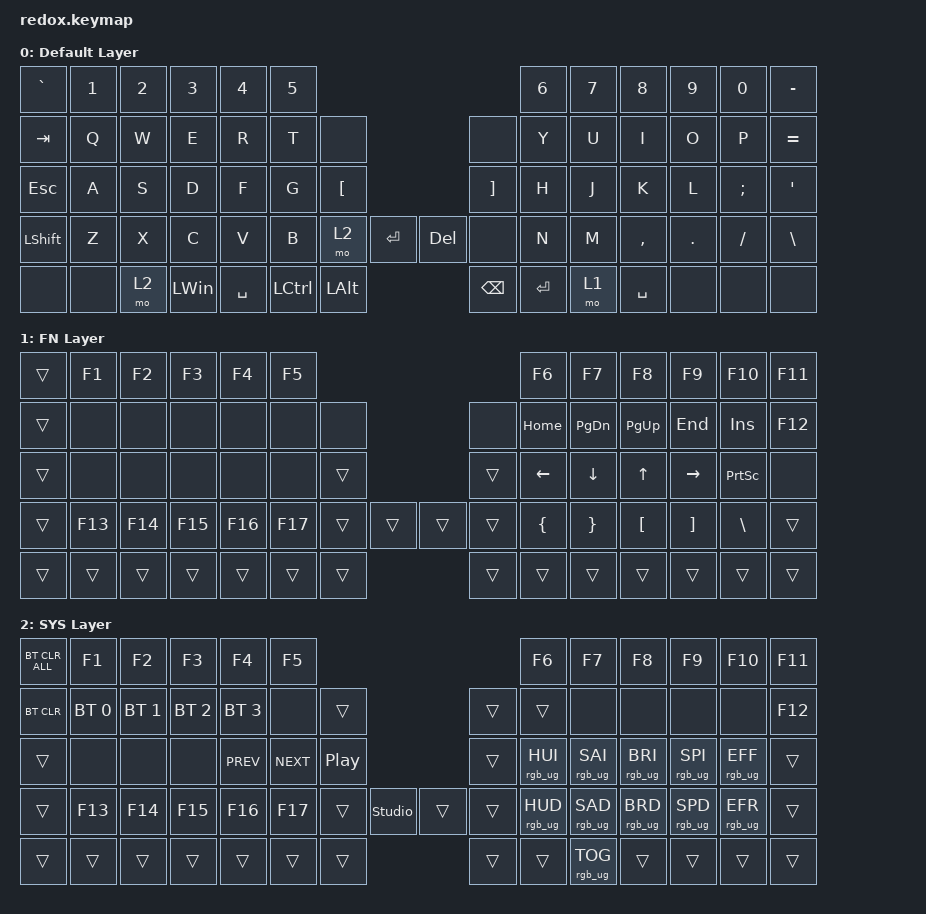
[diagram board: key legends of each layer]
/*
 * Copyright (c) 2021 The ZMK Contributors
 *
 * SPDX-License-Identifier: MIT
 */

#include <behaviors.dtsi>
#include <dt-bindings/zmk/bt.h>
#include <dt-bindings/zmk/keys.h>
#include <dt-bindings/zmk/rgb.h>

&mt { flavor = "tap-preferred"; };

/ {
    keymap {
        compatible = "zmk,keymap";

        default_layer {
            display-name = "Default Layer";
            bindings = <
&kp GRAVE   &kp N1     &kp N2     &kp N3         &kp N4     &kp N5                                                            &kp N6     &kp N7     &kp N8     &kp N9     &kp N0      &kp MINUS
&kp TAB     &kp Q      &kp W      &kp E          &kp R      &kp T       &none                                     &none       &kp Y      &kp U      &kp I      &kp O      &kp P       &kp EQUAL
&kp ESCAPE  &kp A      &kp S      &kp D          &kp F      &kp G       &kp LBKT                                  &kp RBKT    &kp H      &kp J      &kp K      &kp L      &kp SEMI    &kp SQT
&kp LSHFT   &kp Z      &kp X      &kp C          &kp V      &kp B       &mo 2      &kp RET         &kp DEL        &none       &kp N      &kp M      &kp COMMA  &kp DOT    &kp FSLH    &kp BACKSLASH
&none       &none      &mo 2      &kp LEFT_WIN       &kp SPACE          &kp LCTRL  &kp LEFT_ALT    &kp BACKSPACE  &kp RETURN         &mo 1          &kp SPACE  &none      &none       &none
            >;
        };

        fn_layer {
            display-name = "FN Layer";
            bindings = <
&trans          &kp F1        &kp F2        &kp F3        &kp F4        &kp F5                                          &kp F6          &kp F7           &kp F8            &kp F9             &kp F10          &kp F11
&trans          &none         &none         &none         &none         &none         &none                     &none   &kp HOME        &kp PAGE_DOWN    &kp PAGE_UP       &kp END            &kp INSERT       &kp F12
&trans          &none         &none         &none         &none         &none         &trans                    &trans  &kp LEFT        &kp DOWN         &kp UP            &kp RIGHT          &kp PRINTSCREEN  &none
&trans          &kp F13       &kp F14       &kp F15       &kp F16       &kp F17       &trans  &trans    &trans  &trans  &kp LEFT_BRACE  &kp RIGHT_BRACE  &kp LEFT_BRACKET  &kp RIGHT_BRACKET  &kp BACKSLASH    &trans
&trans          &trans        &trans        &trans        &trans                      &trans  &trans    &trans  &trans                  &trans           &trans            &trans             &trans           &trans
            >;
        };

        sys_layer {
            display-name = "SYS Layer";
            bindings = <
&bt BT_CLR_ALL  &kp F1        &kp F2        &kp F3        &kp F4        &kp F5                                                        &kp F6           &kp F7           &kp F8           &kp F9           &kp F10          &kp F11
&bt BT_CLR      &bt BT_SEL 0  &bt BT_SEL 1  &bt BT_SEL 2  &bt BT_SEL 3  &none      &trans                                     &trans  &trans           &none            &none            &none            &none            &kp F12
&trans          &none         &none         &none         &kp C_PREV    &kp C_NEXT &kp C_PLAY_PAUSE                           &trans  &rgb_ug RGB_HUI  &rgb_ug RGB_SAI  &rgb_ug RGB_BRI  &rgb_ug RGB_SPI  &rgb_ug RGB_EFF  &trans
&trans          &kp F13       &kp F14       &kp F15       &kp F16       &kp F17    &trans           &studio_unlock    &trans  &trans  &rgb_ug RGB_HUD  &rgb_ug RGB_SAD  &rgb_ug RGB_BRD  &rgb_ug RGB_SPD  &rgb_ug RGB_EFR  &trans
&trans          &trans        &trans        &trans        &trans                   &trans           &trans            &trans  &trans                   &rgb_ug RGB_TOG  &trans           &trans           &trans           &trans
            >;
        };
    };
};

